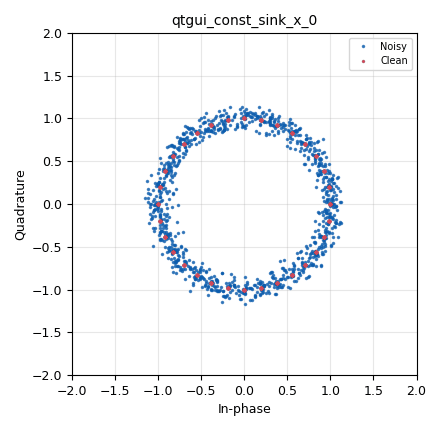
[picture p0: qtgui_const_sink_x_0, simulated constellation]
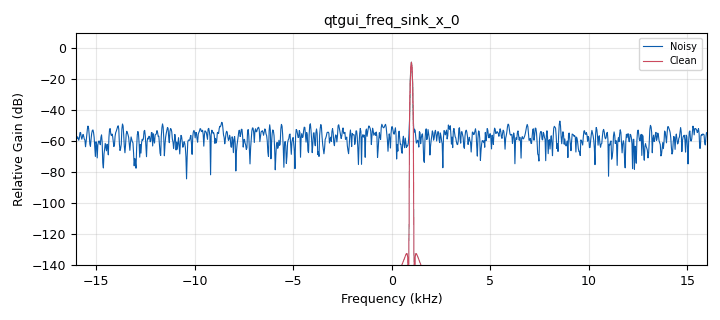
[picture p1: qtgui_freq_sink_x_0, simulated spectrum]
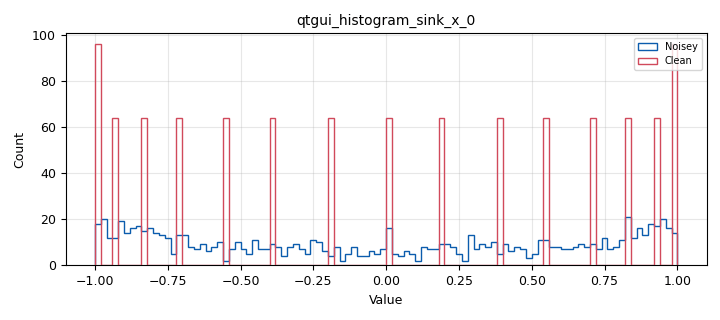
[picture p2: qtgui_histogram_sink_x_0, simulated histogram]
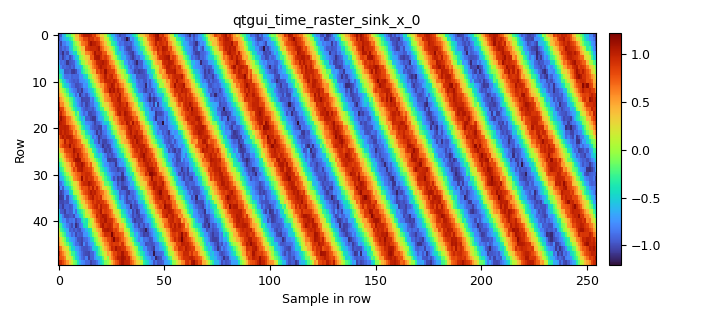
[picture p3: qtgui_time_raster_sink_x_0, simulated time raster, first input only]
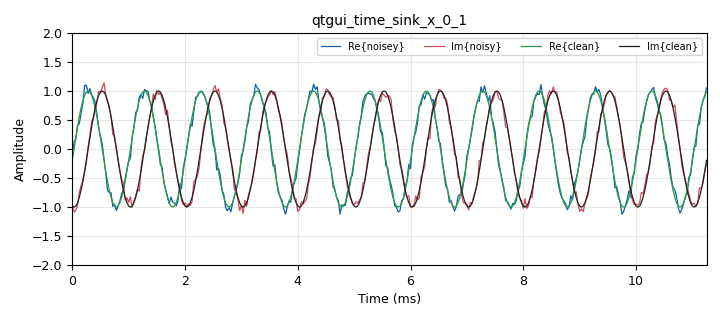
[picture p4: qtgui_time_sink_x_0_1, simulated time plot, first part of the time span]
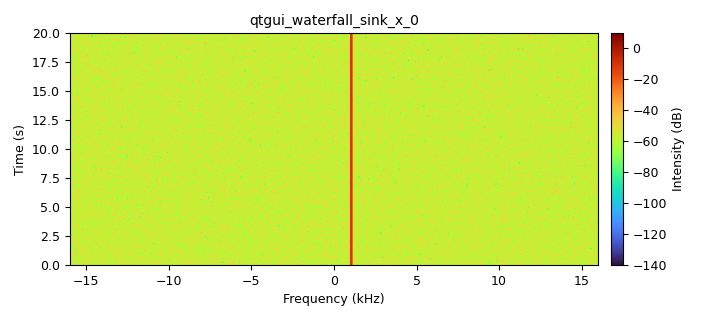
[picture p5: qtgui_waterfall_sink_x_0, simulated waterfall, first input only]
options:
  parameters:
    category: Custom
    generate_options: qt_gui
    id: qtgui_multi_input
    output_language: python
    run_options: run
  states: {}

blocks:
- name: samp_rate
  id: variable
  parameters:
    value: '32000'
  states: {}
- name: analog_fastnoise_source_x_0
  id: analog_fastnoise_source_x
  parameters:
    amp: '0.1'
    noise_type: analog.GR_GAUSSIAN
    samples: '8192'
    seed: '0'
    type: complex
  states: {}
- name: analog_sig_source_x_0
  id: analog_sig_source_x
  parameters:
    amp: '1'
    freq: '1000'
    offset: '0'
    samp_rate: samp_rate
    type: complex
    waveform: analog.GR_COS_WAVE
  states: {}
- name: blocks_add_xx_0
  id: blocks_add_xx
  parameters:
    type: complex
  states: {}
- name: blocks_complex_to_real_0
  id: blocks_complex_to_real
  parameters: {}
  states: {}
- name: blocks_complex_to_real_0_0
  id: blocks_complex_to_real
  parameters: {}
  states: {}
- name: blocks_throttle_0
  id: blocks_throttle
  parameters:
    samples_per_second: 50e3
    type: complex
  states: {}
- name: qtgui_const_sink_x_0
  id: qtgui_const_sink_x
  parameters:
    gui_hint: 0,1,1,1
    label1: Noisy
    label2: Clean
    nconnections: '2'
    size: '1024'
    type: complex
  states: {}
- name: qtgui_freq_sink_x_0
  id: qtgui_freq_sink_x
  parameters:
    bw: samp_rate
    fc: '0'
    fftsize: '1024'
    gui_hint: 1,0,1,1
    label1: Noisy
    label2: Clean
    nconnections: '2'
    showports: 'True'
    type: complex
    wintype: fft.window.WIN_BLACKMAN_hARRIS
  states: {}
- name: qtgui_histogram_sink_x_0
  id: qtgui_histogram_sink_x
  parameters:
    bins: '100'
    gui_hint: 2,1,1,1
    label1: Noisey
    label2: Clean
    nconnections: '2'
    size: '1024'
    type: float
    xmax: '1'
    xmin: '-1'
  states: {}
- name: qtgui_time_raster_sink_x_0
  id: qtgui_time_raster_sink_x
  parameters:
    alpha2: '0.1'
    color1: '6'
    color2: '6'
    gui_hint: 2,0,1,1
    label1: Noisey
    label2: Clean
    ncols: '255'
    nconnections: '2'
    nrows: '50'
    samp_rate: samp_rate
    type: float
    update_time: '0.01'
  states: {}
- name: qtgui_time_sink_x_0_1
  id: qtgui_time_sink_x
  parameters:
    color1: '"blue"'
    color2: '"red"'
    color3: '"green"'
    color4: '"black"'
    gui_hint: 0,0,1,1
    label1: Re{noisey}
    label2: Im{noisy}
    label3: Re{clean}
    label4: Im{clean}
    name: ''
    nconnections: '2'
    size: '1000'
    srate: samp_rate
    tr_delay: '0.015'
    tr_level: '.1'
    tr_mode: qtgui.TRIG_MODE_NORM
    type: complex
    width3: '2'
    width4: '2'
    ymax: '2'
    ymin: '-2'
  states: {}
- name: qtgui_waterfall_sink_x_0
  id: qtgui_waterfall_sink_x
  parameters:
    alpha2: '0.1'
    bw: samp_rate
    color1: '5'
    color2: '5'
    fc: '0'
    fftsize: '1024'
    gui_hint: 1,1,1,1
    label1: Noisey
    label2: Clean
    nconnections: '2'
    showports: 'True'
    type: complex
    wintype: fft.window.WIN_BLACKMAN_hARRIS
  states: {}

connections:
- [analog_fastnoise_source_x_0, '0', blocks_add_xx_0, '1']
- [analog_sig_source_x_0, '0', blocks_throttle_0, '0']
- [blocks_add_xx_0, '0', blocks_complex_to_real_0_0, '0']
- [blocks_add_xx_0, '0', qtgui_const_sink_x_0, '0']
- [blocks_add_xx_0, '0', qtgui_freq_sink_x_0, '0']
- [blocks_add_xx_0, '0', qtgui_time_sink_x_0_1, '0']
- [blocks_add_xx_0, '0', qtgui_waterfall_sink_x_0, '0']
- [blocks_complex_to_real_0, '0', qtgui_histogram_sink_x_0, '1']
- [blocks_complex_to_real_0, '0', qtgui_time_raster_sink_x_0, '1']
- [blocks_complex_to_real_0_0, '0', qtgui_histogram_sink_x_0, '0']
- [blocks_complex_to_real_0_0, '0', qtgui_time_raster_sink_x_0, '0']
- [blocks_throttle_0, '0', blocks_add_xx_0, '0']
- [blocks_throttle_0, '0', blocks_complex_to_real_0, '0']
- [blocks_throttle_0, '0', qtgui_const_sink_x_0, '1']
- [blocks_throttle_0, '0', qtgui_freq_sink_x_0, '1']
- [blocks_throttle_0, '0', qtgui_time_sink_x_0_1, '1']
- [blocks_throttle_0, '0', qtgui_waterfall_sink_x_0, '1']

metadata:
  file_format: 1
